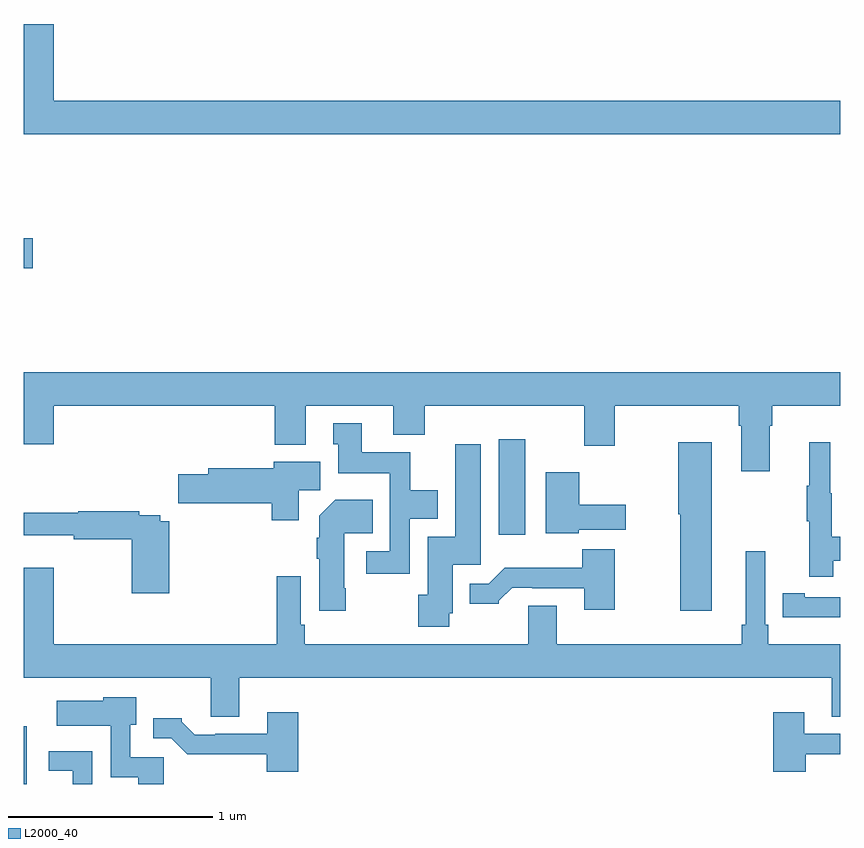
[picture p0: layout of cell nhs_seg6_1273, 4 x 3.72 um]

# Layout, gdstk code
import gdstk
lib = gdstk.Library(unit=1e-6, precision=1e-09)
def R(c, l, rs):  # rectangles x0, y0, x1, y1
    for r in rs: c.add(gdstk.rectangle(r[:2], r[2:], *l))
def P(c, l, *ps):  # polygons
    for p in ps: c.add(gdstk.Polygon(p, *l))
L2000_40 = (2000, 40)

nhs_seg6_1273 = lib.new_cell('nhs_seg6_1273')
R(nhs_seg6_1273, L2000_40, [(189,929.5,189.016,929.782), (191.327,930.72,191.458,931.189), (189,932.027,189.043,932.174)])
P(nhs_seg6_1273, L2000_40, [(193,932.848),(189.148,932.848),(189.148,933.223),(189,933.223),(189,932.684),(193,932.684)],
  [(189,931.164),(189.148,931.164),(189.148,931.352),(190.229,931.352),(190.229,931.163),(190.381,931.163),(190.381,931.352),(190.811,931.352),(190.811,931.211),(190.964,931.211),(190.964,931.352),(191.747,931.352),(191.747,931.158),(191.895,931.158),(191.895,931.352),(192.503,931.352),(192.503,931.256),(192.515,931.256),(192.515,931.032),(192.655,931.032),(192.655,931.256),(192.668,931.256),(192.668,931.352),(193,931.352),(193,931.516),(189,931.516)],
  [(190.89,930.8),(191.029,930.8),(191.029,930.94),(190.893,930.94),(190.893,931.126),(190.657,931.126),(190.657,931.267),(190.517,931.267),(190.517,931.164),(190.541,931.164),(190.541,931.022),(190.794,931.022),(190.794,930.639),(190.677,930.639),(190.677,930.531),(190.89,930.531)],
  [(192.965,930.594),(193,930.594),(193,930.71),(192.958,930.71),(192.958,930.924),(192.95,930.924),(192.95,931.174),(192.848,931.174),(192.848,930.961),(192.837,930.961),(192.837,930.787),(192.848,930.787),(192.848,930.516),(192.965,930.516)],
  [(192.37,931.174),(192.206,931.174),(192.206,930.822),(192.217,930.822),(192.217,930.348),(192.37,930.348)],
  [(191.085,930.336),(191.101,930.336),(191.101,930.573),(191.239,930.573),(191.239,931.165),(191.114,931.165),(191.114,930.712),(190.979,930.712),(190.979,930.426),(190.933,930.426),(190.933,930.27),(191.085,930.27)],
  [(190.348,930.94),(190.453,930.94),(190.453,931.078),(190.226,931.078),(190.226,931.047),(189.905,931.047),(189.905,931.017),(189.756,931.017),(189.756,930.875),(190.214,930.875),(190.214,930.792),(190.348,930.792)],
  [(191.718,930.746),(191.95,930.746),(191.95,930.868),(191.722,930.868),(191.722,931.027),(191.558,931.027),(191.558,930.728),(191.718,930.728)],
  [(190.578,930.46),(190.57,930.46),(190.57,930.728),(190.709,930.728),(190.709,930.892),(190.526,930.892),(190.448,930.814),(190.448,930.707),(190.436,930.707),(190.436,930.604),(190.448,930.604),(190.448,930.348),(190.578,930.348)],
  [(189.713,930.787),(189.67,930.787),(189.67,930.816),(189.566,930.816),(189.566,930.836),(189.266,930.836),(189.266,930.829),(189,930.829),(189,930.719),(189.244,930.719),(189.244,930.7),(189.53,930.7),(189.53,930.435),(189.713,930.435)],
  [(191.895,930.649),(191.735,930.649),(191.735,930.559),(191.356,930.559),(191.277,930.48),(191.186,930.48),(191.186,930.383),(191.328,930.383),(191.328,930.398),(191.392,930.462),(191.491,930.462),(191.491,930.459),(191.747,930.459),(191.747,930.354),(191.895,930.354)],
  [(190.057,930.02),(192.959,930.02),(192.959,929.83),(193,929.83),(193,930.184),(192.647,930.184),(192.647,930.28),(192.633,930.28),(192.633,930.64),(192.536,930.64),(192.536,930.28),(192.517,930.28),(192.517,930.184),(191.611,930.184),(191.611,930.374),(191.471,930.374),(191.471,930.184),(190.376,930.184),(190.376,930.28),(190.356,930.28),(190.356,930.517),(190.24,930.517),(190.24,930.184),(189.148,930.184),(189.148,930.559),(189,930.559),(189,930.02),(189.917,930.02),(189.917,929.83),(190.057,929.83)],
  [(193,930.414),(192.826,930.414),(192.826,930.434),(192.718,930.434),(192.718,930.318),(192.826,930.318),(192.826,930.317),(193,930.317)],
  [(189.685,929.631),(189.522,929.631),(189.522,929.79),(189.55,929.79),(189.55,929.926),(189.39,929.926),(189.39,929.908),(189.162,929.908),(189.162,929.786),(189.426,929.786),(189.426,929.534),(189.56,929.534),(189.56,929.5),(189.685,929.5)],
  [(190.346,929.851),(190.193,929.851),(190.193,929.745),(189.937,929.745),(189.937,929.742),(189.838,929.742),(189.774,929.806),(189.774,929.821),(189.635,929.821),(189.635,929.724),(189.723,929.724),(189.802,929.646),(190.191,929.646),(190.191,929.561),(190.346,929.561)],
  [(192.831,929.646),(193,929.646),(193,929.745),(192.823,929.745),(192.823,929.851),(192.671,929.851),(192.671,929.561),(192.831,929.561)],
  [(189.336,929.661),(189.123,929.661),(189.123,929.565),(189.24,929.565),(189.24,929.5),(189.336,929.5)])

lib.write_gds('nhs_seg6_1273.gds')
